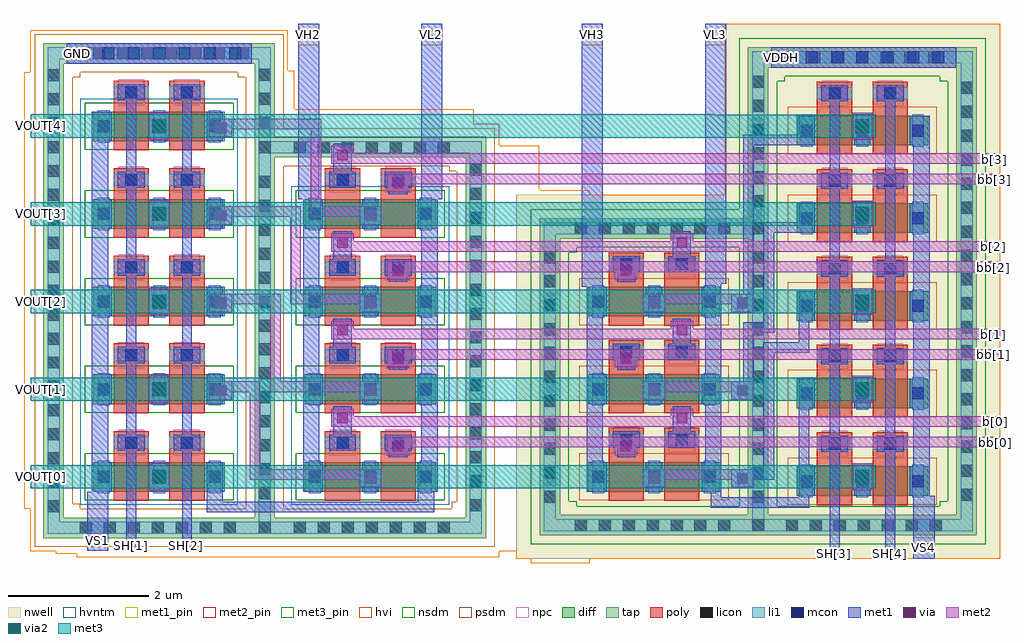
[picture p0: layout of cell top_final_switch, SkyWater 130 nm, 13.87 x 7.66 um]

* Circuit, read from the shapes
.subckt top_final_switch GND SH[1] SH[2] SH[3] SH[4] VDDH VH2 VH3 VL2 VL3 VOUT[0] VOUT[1] VOUT[2] VOUT[3] VOUT[4] VS1 VS4 b[0] b[1] b[2] b[3] bb[0] bb[1] bb[2] bb[3]
XM1 VOUT[0] SH[1] VS1 GND sky130_fd_pr__nfet_g5v0d10v5 w=0.42 l=0.5
XM2 VOUT[1] SH[1] VS1 GND sky130_fd_pr__nfet_g5v0d10v5 w=0.42 l=0.5
XM3 VOUT[2] SH[1] VS1 GND sky130_fd_pr__nfet_g5v0d10v5 w=0.42 l=0.5
XM4 VOUT[3] SH[1] VS1 GND sky130_fd_pr__nfet_g5v0d10v5 w=0.42 l=0.5
XM5 VOUT[4] SH[1] VS1 GND sky130_fd_pr__nfet_g5v0d10v5 w=0.42 l=0.5
XM6 VL2 SH[2] VOUT[0] GND sky130_fd_pr__nfet_g5v0d10v5 w=0.42 l=0.5
XM7 n1 SH[2] VOUT[1] GND sky130_fd_pr__nfet_g5v0d10v5 w=0.42 l=0.5
XM8 n2 SH[2] VOUT[2] GND sky130_fd_pr__nfet_g5v0d10v5 w=0.42 l=0.5
XM9 n3 SH[2] VOUT[3] GND sky130_fd_pr__nfet_g5v0d10v5 w=0.42 l=0.5
XM10 n4 SH[2] VOUT[4] GND sky130_fd_pr__nfet_g5v0d10v5 w=0.42 l=0.5
XM11 n1 b[0] VH2 GND sky130_fd_pr__nfet_g5v0d10v5 w=0.42 l=0.5
XM12 n2 b[1] VH2 GND sky130_fd_pr__nfet_g5v0d10v5 w=0.42 l=0.5
XM13 n3 b[2] VH2 GND sky130_fd_pr__nfet_g5v0d10v5 w=0.42 l=0.5
XM14 n4 b[3] VH2 GND sky130_fd_pr__nfet_g5v0d10v5 w=0.42 l=0.5
XM15 VL2 bb[0] n1 GND sky130_fd_pr__nfet_g5v0d10v5 w=0.42 l=0.5
XM16 VL2 bb[1] n2 GND sky130_fd_pr__nfet_g5v0d10v5 w=0.42 l=0.5
XM17 VL2 bb[2] n3 GND sky130_fd_pr__nfet_g5v0d10v5 w=0.42 l=0.5
XM18 VL2 bb[3] n4 GND sky130_fd_pr__nfet_g5v0d10v5 w=0.42 l=0.5
XM19 n5 bb[0] VH3 VDDH sky130_fd_pr__pfet_g5v0d10v5 w=0.42 l=0.5
XM20 n6 bb[1] VH3 VDDH sky130_fd_pr__pfet_g5v0d10v5 w=0.42 l=0.5
XM21 n7 bb[2] VH3 VDDH sky130_fd_pr__pfet_g5v0d10v5 w=0.42 l=0.5
XM22 VL3 b[0] n5 VDDH sky130_fd_pr__pfet_g5v0d10v5 w=0.42 l=0.5
XM23 VL3 b[1] n6 VDDH sky130_fd_pr__pfet_g5v0d10v5 w=0.42 l=0.5
XM24 VL3 b[2] n7 VDDH sky130_fd_pr__pfet_g5v0d10v5 w=0.42 l=0.5
XM25 VOUT[0] SH[3] VL3 VDDH sky130_fd_pr__pfet_g5v0d10v5 w=0.42 l=0.5
XM26 VOUT[1] SH[3] VL3 VDDH sky130_fd_pr__pfet_g5v0d10v5 w=0.42 l=0.5
XM27 VOUT[2] SH[3] n5 VDDH sky130_fd_pr__pfet_g5v0d10v5 w=0.42 l=0.5
XM28 VOUT[3] SH[3] n6 VDDH sky130_fd_pr__pfet_g5v0d10v5 w=0.42 l=0.5
XM29 VOUT[4] SH[3] n7 VDDH sky130_fd_pr__pfet_g5v0d10v5 w=0.42 l=0.5
XM30 VS4 SH[4] VOUT[0] VDDH sky130_fd_pr__pfet_g5v0d10v5 w=0.42 l=0.5
XM31 VS4 SH[4] VOUT[1] VDDH sky130_fd_pr__pfet_g5v0d10v5 w=0.42 l=0.5
XM32 VS4 SH[4] VOUT[2] VDDH sky130_fd_pr__pfet_g5v0d10v5 w=0.42 l=0.5
XM33 VS4 SH[4] VOUT[3] VDDH sky130_fd_pr__pfet_g5v0d10v5 w=0.42 l=0.5
XM34 VS4 SH[4] VOUT[4] VDDH sky130_fd_pr__pfet_g5v0d10v5 w=0.42 l=0.5
.ends

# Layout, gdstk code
from math import pi, radians
import gdstk
lib = gdstk.Library(unit=1e-6, precision=1e-09)
def R(c, l, rs):  # rectangles x0, y0, x1, y1
    for r in rs: c.add(gdstk.rectangle(r[:2], r[2:], *l))
def A(c, l, x, y, w, h, nx, ny, dx, dy):  # array of equal rectangles
    R(c, l, [(x+i*dx, y+j*dy, x+i*dx+w, y+j*dy+h) for i in range(nx) for j in range(ny)])
nwell = (64, 20)
diff = (65, 20)
tap = (65, 44)
poly = (66, 20)
licon = (66, 44)
li1 = (67, 20)
mcon = (67, 44)
met1_pin = (68, 16)
met1 = (68, 20)
via = (68, 44)
met2_pin = (69, 16)
met2 = (69, 20)
via2 = (69, 44)
met3_pin = (70, 16)
met3 = (70, 20)
hvi = (75, 20)
nsdm = (93, 44)
psdm = (94, 20)
npc = (95, 20)
hvntm = (125, 20)

sky130_fd_pr__pfet_g5v0d = lib.new_cell('sky130_fd_pr__pfet_g5v0d10v5_Y8TEUT')
A(sky130_fd_pr__pfet_g5v0d, nwell, -1.115, -3.19, 2.23, 1.23, 1, 5, 0, 1.245)
A(sky130_fd_pr__pfet_g5v0d, diff, -0.935, -2.88, 1.87, 0.42, 1, 5, 0, 1.245)
A(sky130_fd_pr__pfet_g5v0d, poly, -0.645, -3.01, 0.5, 1.035, 1, 5, 0, 1.245)
A(sky130_fd_pr__pfet_g5v0d, poly, 0.145, -3.01, 0.5, 1.035, 1, 5, 0, 1.245)
A(sky130_fd_pr__pfet_g5v0d, licon, -0.875, -2.755, 0.17, 0.17, 3, 5, 0.79, 1.245)
A(sky130_fd_pr__pfet_g5v0d, licon, -0.48, -2.225, 0.17, 0.17, 1, 5, 0, 1.245)
A(sky130_fd_pr__pfet_g5v0d, licon, 0.31, -2.225, 0.17, 0.17, 1, 5, 0, 1.245)
A(sky130_fd_pr__pfet_g5v0d, li1, -0.875, -2.9, 0.17, 0.46, 3, 5, 0.79, 1.245)
A(sky130_fd_pr__pfet_g5v0d, li1, -0.645, -2.225, 0.5, 0.17, 1, 5, 0, 1.245)
A(sky130_fd_pr__pfet_g5v0d, li1, 0.145, -2.225, 0.5, 0.17, 1, 5, 0, 1.245)
A(sky130_fd_pr__pfet_g5v0d, mcon, -0.875, -2.755, 0.17, 0.17, 3, 5, 0.79, 1.245)
A(sky130_fd_pr__pfet_g5v0d, mcon, -0.48, -2.225, 0.17, 0.17, 1, 5, 0, 1.245)
A(sky130_fd_pr__pfet_g5v0d, mcon, 0.31, -2.225, 0.17, 0.17, 1, 5, 0, 1.245)
A(sky130_fd_pr__pfet_g5v0d, met1, -0.905, -2.88, 0.23, 0.42, 3, 5, 0.79, 1.245)
A(sky130_fd_pr__pfet_g5v0d, met1, -0.585, -2.255, 0.38, 0.23, 1, 5, 0, 1.245)
A(sky130_fd_pr__pfet_g5v0d, met1, 0.205, -2.255, 0.38, 0.23, 1, 5, 0, 1.245)
R(sky130_fd_pr__pfet_g5v0d, hvi, [(-1.115,-3.19,1.115,-3.065), (-1.12,-3.065,1.12,2.705), (-1.115,2.705,1.115,3.02)])
A(sky130_fd_pr__pfet_g5v0d, psdm, -1.06, -3.005, 2.12, 0.67, 1, 5, 0, 1.245)
A(sky130_fd_pr__pfet_g5v0d, npc, -0.58, -2.325, 0.37, 0.37, 1, 5, 0, 1.245)
A(sky130_fd_pr__pfet_g5v0d, npc, 0.21, -2.325, 0.37, 0.37, 1, 5, 0, 1.245)

seg_sel_pmos = lib.new_cell('seg_sel_pmos')
R(seg_sel_pmos, nwell, [(31.155,1.47,35.065,9.065)])
R(seg_sel_pmos, tap, [(31.485,1.8,34.735,2.09), (31.485,2.09,31.775,8.445), (34.445,2.09,34.735,8.445), (31.485,8.445,34.735,8.735)])
R(seg_sel_pmos, li1, [(31.545,1.86,34.675,2.03), (31.545,2.03,31.715,8.505), (34.505,2.03,34.675,8.505), (31.545,8.505,34.675,8.675)])
R(seg_sel_pmos, met1, [(33.835,2.36,34.065,7.76), (32.645,3.1,32.785,8.1), (33.435,3.1,33.575,8.1)])
R(seg_sel_pmos, hvi, [(31.155,1.47,35.065,9.065)])
R(seg_sel_pmos, nsdm, [(31.36,1.675,34.86,2.215), (31.36,2.215,31.9,8.32), (34.32,2.215,34.86,8.32), (31.36,8.32,34.86,8.86)])
seg_sel_pmos.add(gdstk.Reference(sky130_fd_pr__pfet_g5v0d, (33.11,5.24), rotation=pi, x_reflection=True))

sky130_fd_pr__nfet_g5v0d = lib.new_cell('sky130_fd_pr__nfet_g5v0d10v5_CSEDJZ')
R(sky130_fd_pr__nfet_g5v0d, diff, [(-0.935,-0.365,0.935,0.055)])
R(sky130_fd_pr__nfet_g5v0d, poly, [(-0.645,-0.495,-0.145,0.495), (0.145,-0.495,0.645,0.495)])
A(sky130_fd_pr__nfet_g5v0d, licon, -0.875, -0.24, 0.17, 0.17, 3, 1, 0.79, 0)
R(sky130_fd_pr__nfet_g5v0d, licon, [(-0.48,0.245,-0.31,0.415), (0.31,0.245,0.48,0.415)])
A(sky130_fd_pr__nfet_g5v0d, li1, -0.875, -0.385, 0.17, 0.46, 3, 1, 0.79, 0)
R(sky130_fd_pr__nfet_g5v0d, li1, [(-0.645,0.245,-0.145,0.415), (0.145,0.245,0.645,0.415)])
A(sky130_fd_pr__nfet_g5v0d, mcon, -0.875, -0.24, 0.17, 0.17, 3, 1, 0.79, 0)
R(sky130_fd_pr__nfet_g5v0d, mcon, [(-0.48,0.245,-0.31,0.415), (0.31,0.245,0.48,0.415)])
A(sky130_fd_pr__nfet_g5v0d, met1, -0.905, -0.365, 0.23, 0.42, 3, 1, 0.79, 0)
R(sky130_fd_pr__nfet_g5v0d, met1, [(-0.585,0.215,-0.205,0.445), (0.205,0.215,0.585,0.445)])
R(sky130_fd_pr__nfet_g5v0d, hvi, [(-1.12,-0.575,1.12,0.265)])
R(sky130_fd_pr__nfet_g5v0d, nsdm, [(-1.06,-0.49,1.06,0.18)])
R(sky130_fd_pr__nfet_g5v0d, npc, [(-0.58,0.145,-0.21,0.515), (0.21,0.145,0.58,0.515)])
R(sky130_fd_pr__nfet_g5v0d, hvntm, [(-1.12,-0.55,1.12,0.24)])

seg_sel_nmos = lib.new_cell('seg_sel_nmos')
R(seg_sel_nmos, tap, [(-4.47,-0.665,-1.18,-0.375), (-4.47,-0.375,-4.18,6.075), (-1.47,-0.375,-1.18,6.075), (-4.47,6.075,-1.18,6.365)])
R(seg_sel_nmos, li1, [(-4.41,-0.605,-1.24,-0.435), (-4.41,-0.435,-4.24,6.135), (-1.41,-0.435,-1.24,6.135), (-4.41,6.135,-1.24,6.305)])
R(seg_sel_nmos, met1, [(-3.78,-0.005,-3.55,5.395), (-3.29,0.69,-3.15,5.69), (-2.5,0.69,-2.36,5.69)])
A(seg_sel_nmos, hvi, -4.745, 0.625, 3.84, 0.405, 1, 4, 0, 1.245)
A(seg_sel_nmos, hvi, -4.745, 1.03, 0.84, 0.84, 1, 4, 0, 1.245)
A(seg_sel_nmos, hvi, -1.745, 1.03, 0.84, 0.84, 1, 4, 0, 1.245)
R(seg_sel_nmos, hvi, [(-3.995,-0.94,-0.995,-0.85), (-4.655,-0.85,-0.995,-0.19), (-4.745,-0.19,-0.905,-0.1), (-4.745,-0.1,-3.905,0.625), (-1.745,-0.1,-0.905,0.625), (-4.745,5.605,-0.905,5.89), (-4.655,5.89,-0.995,6.55)])
R(seg_sel_nmos, psdm, [(-4.595,-0.79,-1.055,-0.25), (-4.595,-0.25,-4.055,5.95), (-1.595,-0.25,-1.055,5.95), (-4.595,5.95,-1.055,6.49)])
A(seg_sel_nmos, hvntm, -3.945, 0.6, 2.24, 0.455, 1, 4, 0, 1.245)
seg_sel_nmos.add(gdstk.Reference(sky130_fd_pr__nfet_g5v0d, (-2.825,5.34)))
seg_sel_nmos.add(gdstk.Reference(sky130_fd_pr__nfet_g5v0d, (-2.825,4.095)))
seg_sel_nmos.add(gdstk.Reference(sky130_fd_pr__nfet_g5v0d, (-2.825,2.85)))
seg_sel_nmos.add(gdstk.Reference(sky130_fd_pr__nfet_g5v0d, (-2.825,1.605)))
seg_sel_nmos.add(gdstk.Reference(sky130_fd_pr__nfet_g5v0d, (-2.825,0.36)))

c_sky130_fd_pr__pfet_g5v0d = lib.new_cell('sky130_fd_pr__pfet_g5v0d10v5_Z832FA')
A(c_sky130_fd_pr__pfet_g5v0d, nwell, -1.115, -1.945, 2.23, 1.23, 1, 3, 0, 1.245)
A(c_sky130_fd_pr__pfet_g5v0d, diff, -0.935, -1.635, 1.87, 0.42, 1, 3, 0, 1.245)
A(c_sky130_fd_pr__pfet_g5v0d, poly, -0.645, -1.765, 0.5, 1.035, 1, 3, 0, 1.245)
A(c_sky130_fd_pr__pfet_g5v0d, poly, 0.145, -1.765, 0.5, 1.035, 1, 3, 0, 1.245)
A(c_sky130_fd_pr__pfet_g5v0d, licon, -0.875, -1.51, 0.17, 0.17, 3, 3, 0.79, 1.245)
A(c_sky130_fd_pr__pfet_g5v0d, licon, -0.48, -0.98, 0.17, 0.17, 1, 3, 0, 1.245)
A(c_sky130_fd_pr__pfet_g5v0d, licon, 0.31, -0.98, 0.17, 0.17, 1, 3, 0, 1.245)
A(c_sky130_fd_pr__pfet_g5v0d, li1, -0.875, -1.655, 0.17, 0.46, 3, 3, 0.79, 1.245)
A(c_sky130_fd_pr__pfet_g5v0d, li1, -0.645, -0.98, 0.5, 0.17, 1, 3, 0, 1.245)
A(c_sky130_fd_pr__pfet_g5v0d, li1, 0.145, -0.98, 0.5, 0.17, 1, 3, 0, 1.245)
A(c_sky130_fd_pr__pfet_g5v0d, mcon, -0.875, -1.51, 0.17, 0.17, 3, 3, 0.79, 1.245)
A(c_sky130_fd_pr__pfet_g5v0d, mcon, -0.48, -0.98, 0.17, 0.17, 1, 3, 0, 1.245)
A(c_sky130_fd_pr__pfet_g5v0d, mcon, 0.31, -0.98, 0.17, 0.17, 1, 3, 0, 1.245)
A(c_sky130_fd_pr__pfet_g5v0d, met1, -0.905, -1.635, 0.23, 0.42, 3, 3, 0.79, 1.245)
A(c_sky130_fd_pr__pfet_g5v0d, met1, -0.585, -1.01, 0.38, 0.23, 1, 3, 0, 1.245)
A(c_sky130_fd_pr__pfet_g5v0d, met1, 0.205, -1.01, 0.38, 0.23, 1, 3, 0, 1.245)
R(c_sky130_fd_pr__pfet_g5v0d, hvi, [(-1.115,-1.945,1.115,-1.82), (-1.12,-1.82,1.12,1.46), (-1.115,1.46,1.115,1.775)])
A(c_sky130_fd_pr__pfet_g5v0d, psdm, -1.06, -1.76, 2.12, 0.67, 1, 3, 0, 1.245)
A(c_sky130_fd_pr__pfet_g5v0d, npc, -0.58, -1.08, 0.37, 0.37, 1, 3, 0, 1.245)
A(c_sky130_fd_pr__pfet_g5v0d, npc, 0.21, -1.08, 0.37, 0.37, 1, 3, 0, 1.245)

interpolation_s3_v2 = lib.new_cell('interpolation_s3_v2')
R(interpolation_s3_v2, nwell, [(76.065,67.785,79.975,72.95)])
R(interpolation_s3_v2, tap, [(76.395,68.115,79.645,68.405), (76.395,68.405,76.685,72.33), (79.355,68.405,79.645,72.33), (76.395,72.33,79.645,72.62)])
R(interpolation_s3_v2, li1, [(76.455,68.175,79.585,68.345), (76.455,68.345,76.625,72.39), (79.415,68.345,79.585,72.39), (76.455,72.39,79.585,72.56)])
A(interpolation_s3_v2, met1, 77.495, 69.225, 0.26, 0.29, 1, 3, 0, 1.245)
R(interpolation_s3_v2, met1, [(77.065,68.735,77.295,71.645), (78.745,68.735,78.975,71.645), (78.285,69.56,78.545,69.945), (78.285,70.835,78.545,71.19), (78.285,72.06,78.545,72.435)])
A(interpolation_s3_v2, via, 77.55, 69.31, 0.15, 0.15, 1, 3, 0, 1.245)
A(interpolation_s3_v2, via, 78.34, 69.71, 0.15, 0.15, 1, 3, 0, 1.245)
A(interpolation_s3_v2, met2, 77.465, 69.255, 0.32, 0.26, 1, 3, 0, 1.245)
A(interpolation_s3_v2, met2, 78.255, 69.655, 0.32, 0.26, 1, 3, 0, 1.245)
R(interpolation_s3_v2, hvi, [(76.065,67.785,79.975,72.95)])
R(interpolation_s3_v2, nsdm, [(76.27,67.99,79.77,68.53), (76.27,68.53,76.81,72.205), (79.23,68.53,79.77,72.205), (76.27,72.205,79.77,72.745)])
interpolation_s3_v2.add(gdstk.Reference(c_sky130_fd_pr__pfet_g5v0d, (78.02,70.37), rotation=pi, x_reflection=True))

interpolation_s2_v2 = lib.new_cell('interpolation_s2_v2')
R(interpolation_s2_v2, tap, [(73.64,68.075,76.93,68.365), (73.64,68.365,73.93,73.485), (76.64,68.365,76.93,73.485), (73.64,73.485,76.93,73.775)])
R(interpolation_s2_v2, li1, [(73.7,68.135,76.87,68.305), (73.7,68.305,73.87,73.545), (76.7,68.305,76.87,73.545), (73.7,73.545,76.87,73.715)])
A(interpolation_s2_v2, met1, 75.55, 69.225, 0.26, 0.29, 1, 4, 0, 1.245)
R(interpolation_s2_v2, met1, [(74.33,68.735,74.56,72.89), (76.01,68.735,76.24,72.89), (74.76,69.5,75.02,69.945), (74.76,70.745,75.02,71.19), (74.76,71.975,75.02,72.435), (74.76,73.22,75.02,73.68)])
A(interpolation_s2_v2, via, 75.605, 69.31, 0.15, 0.15, 1, 4, 0, 1.245)
A(interpolation_s2_v2, via, 74.815, 69.71, 0.15, 0.15, 1, 4, 0, 1.245)
A(interpolation_s2_v2, met2, 75.52, 69.255, 0.32, 0.26, 1, 4, 0, 1.245)
A(interpolation_s2_v2, met2, 74.73, 69.655, 0.32, 0.26, 1, 4, 0, 1.245)
A(interpolation_s2_v2, hvi, 73.365, 69.365, 3.84, 0.405, 1, 3, 0, 1.245)
A(interpolation_s2_v2, hvi, 73.365, 69.77, 0.84, 0.84, 1, 3, 0, 1.245)
A(interpolation_s2_v2, hvi, 76.365, 69.77, 0.84, 0.84, 1, 3, 0, 1.245)
R(interpolation_s2_v2, hvi, [(74.115,67.8,77.115,67.89), (73.455,67.89,77.115,68.55), (73.365,68.55,77.205,68.64), (73.365,68.64,74.205,69.365), (76.365,68.64,77.205,69.365), (73.365,73.1,77.205,73.3), (73.455,73.3,77.115,73.96)])
R(interpolation_s2_v2, psdm, [(73.515,67.95,77.055,68.49), (73.515,68.49,74.055,73.36), (76.515,68.49,77.055,73.36), (73.515,73.36,77.055,73.9)])
A(interpolation_s2_v2, hvntm, 74.165, 69.34, 2.24, 0.455, 1, 3, 0, 1.245)
interpolation_s2_v2.add(gdstk.Reference(sky130_fd_pr__nfet_g5v0d, (75.285,72.835)))
interpolation_s2_v2.add(gdstk.Reference(sky130_fd_pr__nfet_g5v0d, (75.285,71.59)))
interpolation_s2_v2.add(gdstk.Reference(sky130_fd_pr__nfet_g5v0d, (75.285,70.345)))
interpolation_s2_v2.add(gdstk.Reference(sky130_fd_pr__nfet_g5v0d, (75.285,69.1)))

interpolation_switch = lib.new_cell('interpolation_switch')
A(interpolation_switch, met2, 0.65, 1.01, 4.5, 0.15, 1, 3, 0, 1.245)
A(interpolation_switch, met2, 1.41, 1.965, 2.98, 0.15, 1, 3, 0, 1.245)
R(interpolation_switch, met2, [(1.44,0.72,4.36,0.87), (0.65,4.745,5.125,4.895)])
R(interpolation_switch, hvi, [(2.715,-0.755,2.96,4.305)])
interpolation_switch.add(gdstk.Reference(interpolation_s3_v2, (-73.105,-68.645)))
interpolation_switch.add(gdstk.Reference(interpolation_s2_v2, (-74.4,-68.645)))

top_final_switch = lib.new_cell('top_final_switch')
R(top_final_switch, tap, [(72.575,65.795,78.15,65.965), (79.625,65.835,85.115,66.005), (75.275,65.965,75.445,71.205), (82.285,66.005,82.455,70.05), (72.275,66.095,72.445,72.405), (78.275,66.095,78.445,71.075), (79.325,66.135,79.495,69.92), (85.245,66.135,85.415,72.35), (79.625,70.05,82.455,70.22), (82.285,70.22,82.455,72.35), (75.275,71.205,78.145,71.375), (75.275,71.375,75.445,72.405), (82.585,72.48,85.115,72.65), (72.575,72.535,75.145,72.705)])
A(top_final_switch, licon, 72.735, 65.795, 0.17, 0.17, 7, 1, 0.34, 0)
A(top_final_switch, licon, 75.775, 65.795, 0.17, 0.17, 7, 2, 0.34, 5.41)
A(top_final_switch, licon, 79.765, 65.835, 0.17, 0.17, 7, 2, 0.34, 4.215)
A(top_final_switch, licon, 82.765, 65.835, 0.17, 0.17, 7, 1, 0.34, 0)
A(top_final_switch, licon, 72.275, 66.105, 0.17, 0.17, 1, 19, 0, 0.34)
A(top_final_switch, licon, 78.275, 66.12, 0.17, 0.17, 1, 15, 0, 0.34)
A(top_final_switch, licon, 79.325, 66.24, 0.17, 0.17, 1, 11, 0, 0.34)
A(top_final_switch, licon, 82.285, 66.24, 0.17, 0.17, 1, 11, 0, 0.34)
A(top_final_switch, licon, 85.245, 66.265, 0.17, 0.17, 1, 18, 0, 0.34)
A(top_final_switch, licon, 75.275, 66.29, 0.17, 0.17, 1, 14, 0, 0.34)
A(top_final_switch, licon, 82.285, 70.435, 0.17, 0.17, 1, 6, 0, 0.34)
A(top_final_switch, licon, 75.275, 71.55, 0.17, 0.17, 1, 3, 0, 0.34)
A(top_final_switch, licon, 82.745, 72.48, 0.17, 0.17, 7, 1, 0.34, 0)
A(top_final_switch, licon, 72.585, 72.535, 0.17, 0.17, 8, 1, 0.34, 0)
R(top_final_switch, licon, [(75.275,65.795,75.445,65.965), (82.285,65.835,82.455,66.005), (82.285,70.05,82.455,70.22), (75.275,71.205,75.445,71.375)])
R(top_final_switch, li1, [(72.575,65.795,78.15,65.965), (79.625,65.835,85.115,66.005), (75.275,65.965,75.445,71.205), (82.285,66.005,82.455,70.05), (72.275,66.095,72.445,72.405), (78.275,66.095,78.445,71.075), (79.325,66.135,79.495,69.92), (85.245,66.135,85.415,72.35), (79.625,70.05,82.455,70.22), (82.285,70.22,82.455,72.35), (75.275,71.205,78.145,71.375), (75.275,71.375,75.445,72.405), (82.585,72.48,85.115,72.65), (72.575,72.535,75.145,72.705)])
A(top_final_switch, mcon, 82.685, 72.48, 0.17, 0.17, 7, 1, 0.36, 0)
A(top_final_switch, mcon, 72.695, 72.535, 0.17, 0.17, 7, 1, 0.36, 0)
R(top_final_switch, met1_pin, [(83.385,65.445,83.525,65.585), (84.175,65.445,84.315,65.585), (84.575,65.445,84.875,65.745), (72.835,65.555,73.135,65.855), (73.395,65.555,73.535,65.695), (74.185,65.555,74.325,65.695), (82.555,72.42,82.855,72.71), (72.545,72.475,72.845,72.765), (75.835,72.74,76.135,73.04), (77.585,72.74,77.885,73.04), (79.865,72.74,80.165,73.04), (81.615,72.74,81.915,73.04)])
A(top_final_switch, met1, 73.72, 66.435, 0.28, 0.34, 1, 5, 0, 1.245)
A(top_final_switch, met1, 83.71, 66.435, 0.28, 0.34, 1, 5, 0, 1.245)
A(top_final_switch, met1, 76.7, 66.455, 0.32, 0.26, 1, 4, 0, 1.245)
A(top_final_switch, met1, 80.73, 66.455, 0.32, 0.26, 1, 3, 0, 1.245)
A(top_final_switch, met1, 74.575, 67.7, 0.32, 0.26, 1, 4, 0, 1.245)
R(top_final_switch, met1, [(83.385,65.445,83.525,70.445), (84.175,65.445,84.315,70.445), (84.575,65.445,84.875,66.335), (72.835,65.555,73.135,66.395), (73.395,65.555,73.535,70.555), (74.185,65.555,74.325,70.555), (74.535,66.105,77.765,66.255), (81.695,66.165,83.095,66.315), (74.535,66.255,74.765,66.395), (77.535,66.255,77.765,66.395), (81.695,66.315,81.845,66.415), (82.945,66.315,83.095,66.415), (81.985,66.455,82.305,66.565), (81.985,66.565,82.595,66.715), (82.445,66.715,82.595,68.365), (82.945,66.755,83.095,67.58), (81.985,67.7,82.305,67.96), (82.155,67.96,82.305,68.655), (82.445,68.365,83.095,68.515), (82.945,68.515,83.095,69.245), (82.155,68.655,82.595,68.805), (82.445,68.805,82.595,70.07), (81.985,68.945,82.305,69.205), (82.155,69.205,82.305,71.315), (79.865,69.305,80.165,73.04), (81.615,69.305,81.845,69.345), (81.615,69.345,81.915,73.04), (82.445,70.07,82.945,70.22), (75.835,70.55,76.135,73.04), (77.585,70.55,77.885,73.04), (82.155,71.315,82.945,71.465), (82.555,72.42,85.185,72.71), (72.545,72.475,75.175,72.765)])
A(top_final_switch, via, 76.785, 66.51, 0.15, 0.15, 1, 4, 0, 1.245)
A(top_final_switch, via, 80.815, 66.51, 0.15, 0.15, 1, 3, 0, 1.245)
A(top_final_switch, via, 82.07, 66.51, 0.15, 0.15, 1, 3, 0, 1.245)
A(top_final_switch, via, 73.785, 66.53, 0.15, 0.15, 1, 5, 0, 1.245)
A(top_final_switch, via, 83.775, 66.53, 0.15, 0.15, 1, 5, 0, 1.245)
A(top_final_switch, via, 74.66, 67.755, 0.15, 0.15, 1, 4, 0, 1.245)
R(top_final_switch, met2_pin, [(85.665,67.025,85.805,67.165), (85.665,67.315,85.805,67.455), (85.645,68.27,85.785,68.41), (85.645,68.56,85.785,68.7), (85.64,69.515,85.78,69.655), (85.64,69.805,85.78,69.945), (85.655,70.76,85.795,70.9), (85.655,71.05,85.795,71.19)])
A(top_final_switch, met2, 73.72, 66.415, 0.28, 0.38, 1, 5, 0, 1.245)
A(top_final_switch, met2, 83.71, 66.415, 0.28, 0.38, 1, 5, 0, 1.245)
A(top_final_switch, met2, 76.7, 66.455, 0.32, 0.11, 1, 4, 0, 1.245)
A(top_final_switch, met2, 80.73, 66.455, 0.32, 0.11, 1, 3, 0, 1.245)
A(top_final_switch, met2, 81.985, 66.455, 0.32, 0.11, 1, 3, 0, 1.245)
A(top_final_switch, met2, 80.73, 66.565, 1.575, 0.15, 1, 3, 0, 1.245)
A(top_final_switch, met2, 74.575, 67.7, 0.32, 0.11, 1, 4, 0, 1.245)
R(top_final_switch, met2, [(75.145,66.565,77.02,66.715), (75.145,66.715,75.295,67.81), (80.655,67.025,85.805,67.175), (80.625,67.315,85.805,67.465), (74.575,67.81,75.295,67.96), (75.435,67.81,77.02,67.96), (75.435,67.96,75.585,69.055), (80.625,68.27,85.805,68.42), (80.625,68.56,85.805,68.71), (74.575,69.055,75.585,69.205), (75.725,69.055,77.02,69.205), (75.725,69.205,75.875,70.3), (80.625,69.515,85.805,69.665), (80.625,69.805,85.805,69.955), (74.575,70.3,75.875,70.45), (76.015,70.3,77.02,70.45), (76.015,70.45,76.165,71.545), (80.365,70.76,85.805,70.91), (80.625,71.05,85.805,71.2), (74.575,71.545,76.165,71.695)])
A(top_final_switch, via2, 73.76, 66.505, 0.2, 0.2, 1, 5, 0, 1.245)
A(top_final_switch, via2, 83.75, 66.505, 0.2, 0.2, 1, 5, 0, 1.245)
A(top_final_switch, met3_pin, 72.035, 66.44, 0.3, 0.33, 1, 4, 0, 1.245)
R(top_final_switch, met3_pin, [(72.035,71.425,72.335,71.755)])
A(top_final_switch, met3, 72.035, 66.44, 12.005, 0.33, 1, 4, 0, 1.245)
R(top_final_switch, met3, [(73.67,71.42,84.04,71.425), (72.035,71.425,84.04,71.75), (72.035,71.75,81.745,71.755)])
R(top_final_switch, hvi, [(79.14,65.38,79.98,65.65), (72.39,65.51,78.09,65.61), (72.39,65.61,78.335,65.63), (72.09,65.63,78.335,65.91), (79.14,65.65,85.6,65.91), (72.09,65.91,85.6,66.15), (71.94,66.15,85.6,66.19), (71.94,66.19,79.98,66.22), (81.95,66.19,85.75,66.49), (71.94,66.22,79.68,66.47), (71.94,66.47,72.78,72.05), (74.94,66.47,75.78,70.99), (78.09,66.47,79.68,69.835), (81.95,66.49,82.79,69.865), (84.91,66.49,85.75,71.995), (78.09,69.835,79.98,69.865), (78.09,69.865,82.79,70.105), (77.94,70.105,82.79,70.405), (77.94,70.405,79.98,70.675), (81.95,70.405,82.79,71.995), (77.94,70.675,79.275,70.69), (77.94,70.69,79.26,70.72), (77.79,70.72,79.26,70.99), (74.94,70.99,79.26,71.31), (74.94,71.31,78.63,71.56), (74.94,71.56,78.33,71.83), (74.94,71.83,75.78,72.05), (81.95,71.995,82.94,72.295), (84.76,71.995,85.75,72.295), (71.94,72.05,72.93,72.35), (74.79,72.05,75.78,72.35), (82.1,72.295,85.6,72.835), (72.09,72.35,75.78,72.375), (72.09,72.375,75.63,72.89)])
R(top_final_switch, nsdm, [(79.5,65.71,85.24,65.88), (79.33,65.88,85.41,66.01), (79.2,66.01,85.54,66.13), (79.2,66.13,79.79,66.26), (82.16,66.13,82.58,69.925), (84.95,66.13,85.54,66.26), (79.2,66.26,79.62,69.795), (85.12,66.26,85.54,72.225), (79.2,69.795,79.79,69.925), (79.2,69.925,82.58,70.045), (79.33,70.045,82.58,70.175), (79.5,70.175,82.58,70.345), (82.16,70.345,82.58,72.225), (82.16,72.225,82.75,72.355), (84.95,72.225,85.54,72.355), (82.16,72.355,85.54,72.475), (82.29,72.475,85.41,72.605), (82.46,72.605,85.24,72.775)])
R(top_final_switch, psdm, [(72.45,65.67,78.275,65.805), (72.45,65.805,78.405,65.84), (72.28,65.84,78.405,65.97), (72.15,65.97,78.57,66.09), (72.15,66.09,72.74,66.22), (75.15,66.09,75.57,71.08), (78.02,66.09,78.57,66.255), (72.15,66.22,72.57,72.28), (78.15,66.255,78.57,70.95), (77.98,70.95,78.57,71.08), (75.15,71.08,78.57,71.2), (75.15,71.2,78.44,71.33), (75.15,71.33,78.27,71.5), (75.15,71.5,75.57,72.28), (72.15,72.28,72.74,72.41), (74.98,72.28,75.57,72.41), (72.15,72.41,75.57,72.53), (72.28,72.53,75.44,72.66), (72.45,72.66,75.27,72.83)])
top_final_switch.add(gdstk.Reference(seg_sel_pmos, (50.74,63.975)))
top_final_switch.add(gdstk.Reference(seg_sel_nmos, (76.685,66.4)))
top_final_switch.add(gdstk.Reference(interpolation_switch, (75.975,66.305)))
top_final_switch.add(gdstk.Label('b[0]', (85.735,67.385), layer=69, texttype=5))
top_final_switch.add(gdstk.Label('b[1]', (85.715,68.63), layer=69, texttype=5))
top_final_switch.add(gdstk.Label('b[2]', (85.71,69.875), layer=69, texttype=5))
top_final_switch.add(gdstk.Label('b[3]', (85.725,71.12), layer=69, texttype=5))
top_final_switch.add(gdstk.Label('bb[0]', (85.735,67.095), layer=69, texttype=5))
top_final_switch.add(gdstk.Label('bb[1]', (85.715,68.34), layer=69, texttype=5))
top_final_switch.add(gdstk.Label('bb[2]', (85.71,69.585), layer=69, texttype=5))
top_final_switch.add(gdstk.Label('bb[3]', (85.725,70.83), layer=69, texttype=5))
top_final_switch.add(gdstk.Label('SH[1]', (73.465,65.625), layer=68, texttype=5))
top_final_switch.add(gdstk.Label('SH[2]', (74.255,65.625), layer=68, texttype=5))
top_final_switch.add(gdstk.Label('SH[3]', (83.455,65.515), layer=68, texttype=5))
top_final_switch.add(gdstk.Label('SH[4]', (84.245,65.515), layer=68, texttype=5))
top_final_switch.add(gdstk.Label('VS1', (72.985,65.705), layer=68, texttype=5))
top_final_switch.add(gdstk.Label('VL2', (77.735,72.89), layer=68, texttype=5))
top_final_switch.add(gdstk.Label('VH2', (75.985,72.89), layer=68, texttype=5))
top_final_switch.add(gdstk.Label('VL3', (81.765,72.89), layer=68, texttype=5))
top_final_switch.add(gdstk.Label('VH3', (80.015,72.89), layer=68, texttype=5))
top_final_switch.add(gdstk.Label('VS4', (84.725,65.595), layer=68, texttype=5))
top_final_switch.add(gdstk.Label('VOUT[0]', (72.185,66.605), layer=70, texttype=5))
top_final_switch.add(gdstk.Label('VOUT[1]', (72.185,67.85), layer=70, texttype=5))
top_final_switch.add(gdstk.Label('VOUT[2]', (72.185,69.095), layer=70, texttype=5))
top_final_switch.add(gdstk.Label('VOUT[3]', (72.185,70.34), layer=70, texttype=5))
top_final_switch.add(gdstk.Label('VOUT[4]', (72.185,71.59), layer=70, texttype=5))
top_final_switch.add(gdstk.Label('VDDH', (82.705,72.565), layer=68, texttype=5))
top_final_switch.add(gdstk.Label('GND', (72.695,72.62), layer=68, texttype=5))

lib.write_gds('top_final_switch.gds')
